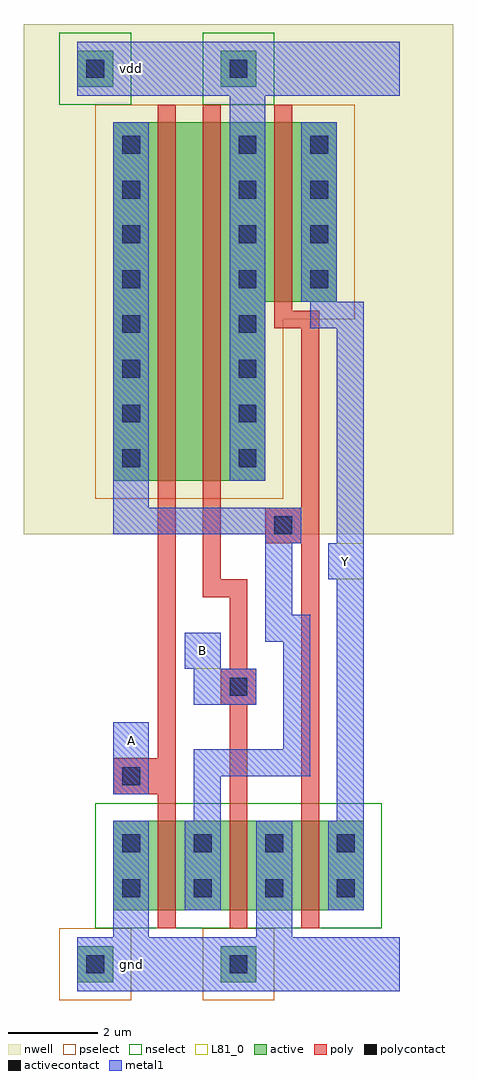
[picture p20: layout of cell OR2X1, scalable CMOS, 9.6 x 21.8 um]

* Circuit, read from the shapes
.subckt OR2X1 A B Y gnd vdd
M1 n1 A gnd gnd nfet w=2u l=0.4u
M2 gnd B n1 gnd nfet w=2u l=0.4u
M3 Y n1 gnd gnd nfet w=2u l=0.4u
M4 n2 A n1 vdd pfet w=8u l=0.4u
M5 vdd B n2 vdd pfet w=8u l=0.4u
M6 Y n1 vdd vdd pfet w=4u l=0.4u
.ends

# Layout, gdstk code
import gdstk
lib = gdstk.Library(unit=1e-6, precision=1e-09)
def R(c, l, rs):  # rectangles x0, y0, x1, y1
    for r in rs: c.add(gdstk.rectangle(r[:2], r[2:], *l))
def A(c, l, x, y, w, h, nx, ny, dx, dy):  # array of equal rectangles
    R(c, l, [(x+i*dx, y+j*dy, x+i*dx+w, y+j*dy+h) for i in range(nx) for j in range(ny)])
nwell = (42, 0)
active = (43, 0)
pselect = (44, 0)
nselect = (45, 0)
poly = (46, 0)
polycontact = (47, 0)
activecontact = (48, 0)
metal1 = (49, 0)
L81_0 = (81, 0)

or2x1 = lib.new_cell('OR2X1')
R(or2x1, nwell, [(-1.6,9.6,8,21)])
R(or2x1, active, [(-0.4,-0.4,0.4,0.4), (2.8,-0.4,3.6,0.4), (0.4,1.2,6,3.2), (0.4,10.8,3.8,14.8), (0.4,14.8,5.4,18.8), (-0.4,19.6,0.4,20.4), (2.8,19.6,3.6,20.4)])
R(or2x1, pselect, [(-0.8,-0.8,0.8,0.8), (2.4,-0.8,4,0.8), (0,10.4,4.2,14.4), (0,14.4,5.8,19.2)])
R(or2x1, nselect, [(0,0.8,6.4,3.6), (-0.8,19.2,0.8,20.8), (2.4,19.2,4,20.8)])
R(or2x1, poly, [(1.4,0.8,1.8,3.8), (3,0.8,3.4,5.8), (4.6,0.8,5,9.4), (0.4,3.8,1.8,4.6), (1.4,4.6,1.8,19.2), (2.8,5.8,3.6,6.6), (3,6.6,3.4,8.2), (2.4,8.2,3.4,8.6), (2.4,8.6,2.8,19.2), (3.8,9.4,5,10.2), (4.6,10.2,5,14.2), (4,14.2,5,14.6), (4,14.6,4.4,19.2)])
R(or2x1, polycontact, [(0.6,4,1,4.4), (3,6,3.4,6.4), (4,9.6,4.4,10)])
A(or2x1, activecontact, 0.6, 1.5, 0.4, 0.4, 4, 2, 1.6, 1)
A(or2x1, activecontact, 0.6, 11.1, 0.4, 0.4, 1, 8, 0, 1)
A(or2x1, activecontact, 3.2, 11.1, 0.4, 0.4, 1, 8, 0, 1)
A(or2x1, activecontact, 4.8, 15.1, 0.4, 0.4, 1, 4, 0, 1)
R(or2x1, activecontact, [(-0.2,-0.2,0.2,0.2), (3,-0.2,3.4,0.2), (-0.2,19.8,0.2,20.2), (3,19.8,3.4,20.2)])
R(or2x1, metal1, [(-0.4,-0.6,6.8,0.6), (0.4,0.6,1.2,3.2), (3.6,0.6,4.4,3.2), (2,1.2,2.8,3.2), (5.2,1.2,6,3.2), (2.2,3.2,2.8,4.2), (5.4,3.2,6,8.6), (0.4,3.8,1.2,5.4), (2.2,4.2,4.8,4.8), (4.2,4.8,4.8,7.2), (2.2,5.8,3.6,6.6), (2,6.6,2.8,7.4), (3.8,7.2,4.8,7.8), (3.8,7.8,4.4,9.4), (5.2,8.6,6,9.4), (3.8,9.4,4.6,9.6), (5.4,9.4,6,14.2), (0.4,9.6,4.6,10.2), (0.4,10.2,1.2,18.8), (3,10.8,3.8,19.4), (4.8,14.2,6,14.8), (4.6,14.8,5.4,18.8), (-0.4,19.4,6.8,20.6)])
R(or2x1, L81_0, [(0.4,4.6,1.2,5.4), (2,6.6,2.8,7.4), (5.2,8.6,6,9.4)])
or2x1.add(gdstk.Label('Y', (5.6,9), layer=109, texttype=0))
or2x1.add(gdstk.Label('B', (2.4,7), layer=109, texttype=0))
or2x1.add(gdstk.Label('vdd', (0.8,20), layer=109, texttype=0))
or2x1.add(gdstk.Label('gnd', (0.8,0), layer=109, texttype=0))
or2x1.add(gdstk.Label('A', (0.8,5), layer=109, texttype=0))

lib.write_gds('OR2X1.gds')
